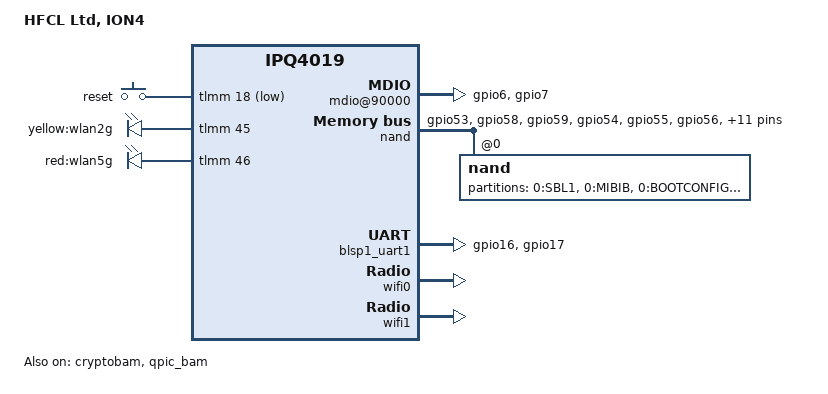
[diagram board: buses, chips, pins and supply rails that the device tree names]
// SPDX-License-Identifier: GPL-2.0-or-later OR MIT

#include "qcom-ipq4019.dtsi"
#include <dt-bindings/gpio/gpio.h>
#include <dt-bindings/input/input.h>
#include <dt-bindings/soc/qcom,tcsr.h>

/ {
	model = "HFCL Ltd, ION4";
	compatible = "hfcl,ion4";

	aliases {
/*		led-boot = &power_green;
		led-failsafe = &power_red;
		led-running = &power_green;
		led-upgrade = &power_red;
		label-mac-device = &wifi0;
		*/
	};

	soc {
		rng@22000 {
			status = "okay";
		};

		mdio@90000 {
			status = "okay";
			pinctrl-0 = <&mdio_pins>;
			pinctrl-names = "default";

			/delete-node/ ethernet-phy@1;
			/delete-node/ ethernet-phy@2;
			/delete-node/ ethernet-phy@3;
			/delete-node/ ethernet-phy@4;
			/delete-node/ psgmii-phy@5;
		};

		tcsr@1949000 {
			compatible = "qcom,tcsr";
			reg = <0x1949000 0x100>;
			qcom,wifi_glb_cfg = <TCSR_WIFI_GLB_CFG>;
		};

		ess_tcsr@1953000 {
			compatible = "qcom,tcsr";
			reg = <0x1953000 0x1000>;
			qcom,ess-interface-select = <TCSR_ESS_PSGMII_RGMII5>;
		};

		tcsr@1957000 {
			compatible = "qcom,tcsr";
			reg = <0x1957000 0x100>;
			qcom,wifi_noc_memtype_m0_m2 = <TCSR_WIFI_NOC_MEMTYPE_M0_M2>;
		};

		crypto@8e3a000 {
			status = "okay";
		};

		watchdog@b017000 {
			status = "okay";
		};

		ess-switch@c000000 {
			switch_mac_mode = <0x3>; /* mac mode for RGMII RMII */
			switch_lan_bmp = <0x0>; /* lan port bitmap */
			switch_wan_bmp = <0x10>; /* wan port bitmap */
		};

		edma@c080000 {
			status = "okay";
			phy-mode = "rgmii-id";
			qcom,num_gmac = <1>;
			qcom,single-phy;
		};
	};

	gpio_key {
		compatible = "gpio-keys";
		button@1 {
			label = "reset";
			linux,code = <KEY_RESTART>;
			gpios = <&tlmm 18 GPIO_ACTIVE_LOW>;
			linux,input-type = <1>;
		};
	};

	leds {
		compatible = "gpio-leds";

		power_red: power_red {
			label = "yellow:wlan2g";
			gpios = <&tlmm 45 GPIO_ACTIVE_HIGH>;
		};

		power_green: power_green {
			label = "red:wlan5g";
			gpios = <&tlmm 46 GPIO_ACTIVE_HIGH>;
		};
	};
};

&tlmm {
	serial_0_pins: serial_pinmux {
		mux {
			pins = "gpio16", "gpio17";
			function = "blsp_uart0";
			bias-disable;
		};
	};

	nand_pins: nand_pins {
		pullups {
			pins = "gpio53", "gpio58", "gpio59";
			function = "qpic";
			bias-pull-up;
		};

		pulldowns {
			pins = "gpio54", "gpio55", "gpio56",
				"gpio57", "gpio60", "gpio61",
				"gpio62", "gpio63", "gpio64",
				"gpio65", "gpio66", "gpio67",
				"gpio68", "gpio69";
			function = "qpic";
			bias-pull-down;
		};
	};

	mdio_pins: mdio_pinmux {
		mux_1 {
			pins = "gpio6";
			function = "mdio";
			bias-pull-up;
		};
		mux_2 {
			pins = "gpio7";
			function = "mdc";
			bias-pull-up;
		};
	};
};

&nand {
	pinctrl-0 = <&nand_pins>;
	pinctrl-names = "default";
	status = "okay";

	nand@0 {
		partitions {
			compatible = "fixed-partitions";
			#address-cells = <1>;
			#size-cells = <1>;

			partition0@0 {
				label = "0:SBL1";
				reg = <0x00000000 0x00100000>;
				read-only;
			};
			partition1@100000 {
				label = "0:MIBIB";
				reg = <0x00100000 0x00100000>;
				read-only;
			};
			partition2@200000 {
				label = "0:BOOTCONFIG";
				reg = <0x00200000 0x00100000>;
				read-only;
			};
			partition3@300000 {
				label = "0:QSEE";
				reg = <0x00300000 0x00200000>;
				read-only;
			};
			partition4@500000 {
				label = "0:CDT";
				reg = <0x00500000 0x00180000>;
				read-only;
			};
			partition5@680000 {
				label = "0:APPSBLENV";
				reg = <0x00680000 0x00080000>;
			};
			partition6@700000 {
				label = "0:APPSBL";
				reg = <0x00700000 0x00400000>;
				read-only;
			};
			partition7@b00000 {
				label = "0:ART";
				reg = <0x00b00000 0x00080000>;
				read-only;
			};
			partition8@b80000 {
				label = "kernel";
				reg = <0x00b80000 0x1000000>;
			};
			partition8@180000 {
				label = "ubi";
				reg = <0x02b80000 0x5480000>;
			};
		};
	};
};

&cryptobam {
	status = "okay";
};

&blsp_dma {
	status = "okay";
};

&blsp1_uart1 {
	pinctrl-0 = <&serial_0_pins>;
	pinctrl-names = "default";
	status = "okay";
};

&qpic_bam {
	status = "okay";
};

&wifi0 {
	status = "okay";
};

&wifi1 {
	status = "okay";
};

&gmac0 {
	qcom,phy_mdio_addr = <0>;
	qcom,poll_required = <1>;
	vlan_tag = <0 0x20>;
};
